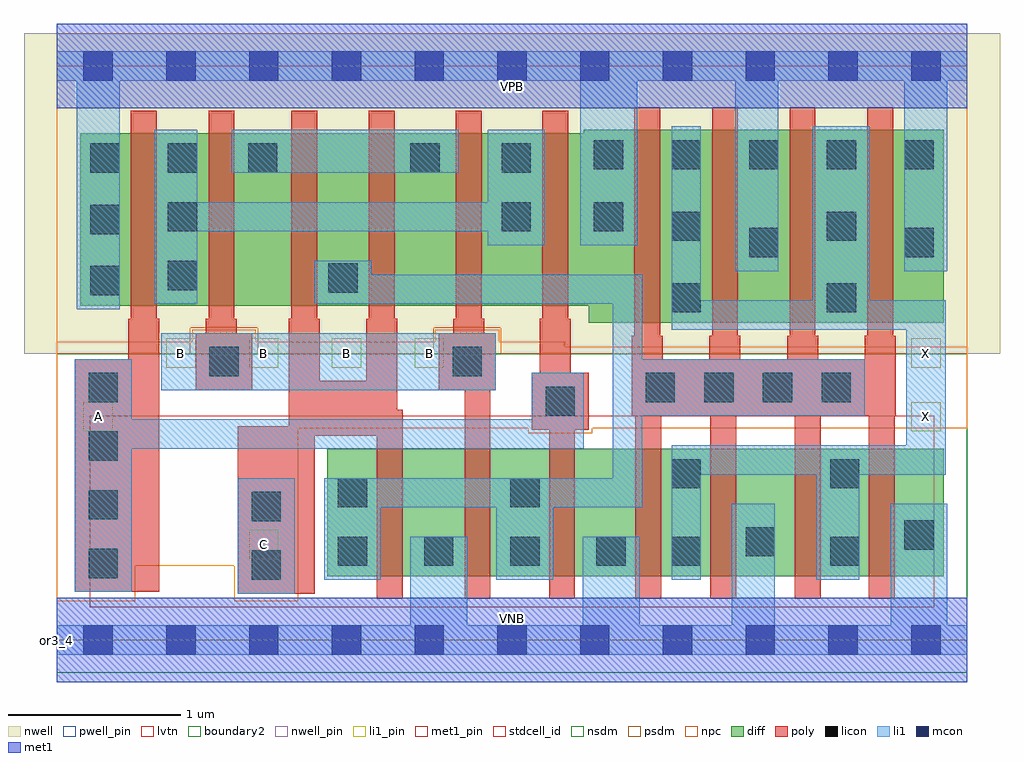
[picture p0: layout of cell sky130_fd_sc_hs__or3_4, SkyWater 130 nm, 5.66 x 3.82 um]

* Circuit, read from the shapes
.subckt sky130_fd_sc_hs__or3_4 A B C VGND VNB VPB VPWR X
XM1 VGND C n1 VNB sky130_fd_pr__nfet_01v8_lvt w=0.74 l=0.15
XM2 n1 B VGND VNB sky130_fd_pr__nfet_01v8_lvt w=0.74 l=0.15
XM3 VGND A n1 VNB sky130_fd_pr__nfet_01v8_lvt w=0.74 l=0.15
XM4 X n1 VGND VNB sky130_fd_pr__nfet_01v8_lvt w=0.74 l=0.15 m=4
XM5 n2 A VPWR VPB sky130_fd_pr__pfet_01v8 w=1 l=0.15 m=2
XM6 n3 B n2 VPB sky130_fd_pr__pfet_01v8 w=1 l=0.15 m=2
XM7 n1 C n3 VPB sky130_fd_pr__pfet_01v8 w=1 l=0.15 m=2
XM8 X n1 VPWR VPB sky130_fd_pr__pfet_01v8 w=1.12 l=0.15 m=4
.ends

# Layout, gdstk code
import gdstk
lib = gdstk.Library(unit=1e-6, precision=1e-09)
def R(c, l, rs):  # rectangles x0, y0, x1, y1
    for r in rs: c.add(gdstk.rectangle(r[:2], r[2:], *l))
def A(c, l, x, y, w, h, nx, ny, dx, dy):  # array of equal rectangles
    R(c, l, [(x+i*dx, y+j*dy, x+i*dx+w, y+j*dy+h) for i in range(nx) for j in range(ny)])
def P(c, l, *ps):  # polygons
    for p in ps: c.add(gdstk.Polygon(p, *l))
nwell_pin = (64, 16)
nwell = (64, 20)
diff = (65, 20)
poly = (66, 20)
licon = (66, 44)
li1_pin = (67, 16)
li1 = (67, 20)
mcon = (67, 44)
met1_pin = (68, 16)
met1 = (68, 20)
stdcell_id = (81, 4)
nsdm = (93, 44)
psdm = (94, 20)
npc = (95, 20)
pwell_pin = (122, 16)
lvtn = (125, 44)
boundary2 = (236, 0)

sky130_fd_sc_hs__or3_4 = lib.new_cell('sky130_fd_sc_hs__or3_4')
R(sky130_fd_sc_hs__or3_4, nwell_pin, [(0,3.085,5.28,3.33)])
R(sky130_fd_sc_hs__or3_4, nwell, [(-0.19,1.66,5.47,3.52)])
R(sky130_fd_sc_hs__or3_4, diff, [(1.57,0.37,5.145,1.11)])
P(sky130_fd_sc_hs__or3_4, diff, [(5.145,2.96),(3.055,2.96),(3.055,2.94),(0.135,2.94),(0.135,1.94),(3.085,1.94),(3.085,1.84),(5.145,1.84)])
P(sky130_fd_sc_hs__or3_4, poly, [(2.545,1.78),(2.48,1.78),(2.48,1.865),(2.465,1.865),(2.465,3.07),(2.315,3.07),(2.315,1.865),(2.3,1.865),(2.3,1.78),(2.215,1.78),(2.215,1.45),(2.365,1.45),(2.365,0.24),(2.515,0.24),(2.515,1.45),(2.545,1.45)],
  [(3.085,1.55),(2.98,1.55),(2.98,1.865),(2.965,1.865),(2.965,3.07),(2.815,3.07),(2.815,1.865),(2.8,1.865),(2.8,1.55),(2.755,1.55),(2.755,1.22),(2.855,1.22),(2.855,0.24),(3.005,0.24),(3.005,1.22),(3.085,1.22)],
  [(4.865,1.765),(4.85,1.765),(4.85,3.09),(4.7,3.09),(4.7,1.765),(4.685,1.765),(4.685,1.63),(4.415,1.63),(4.415,1.765),(4.4,1.765),(4.4,3.09),(4.25,3.09),(4.25,1.765),(4.235,1.765),(4.235,1.63),(3.965,1.63),(3.965,1.765),(3.95,1.765),(3.95,3.09),(3.8,3.09),(3.8,1.765),(3.785,1.765),(3.785,1.63),(3.515,1.63),(3.515,1.765),(3.5,1.765),(3.5,3.09),(3.35,3.09),(3.35,1.765),(3.335,1.765),(3.335,1.3),(3.355,1.3),(3.355,0.24),(3.505,0.24),(3.505,1.3),(3.79,1.3),(3.79,0.24),(3.94,0.24),(3.94,1.3),(4.28,1.3),(4.28,0.24),(4.43,0.24),(4.43,1.3),(4.71,1.3),(4.71,0.24),(4.86,0.24),(4.86,1.3),(4.865,1.3)],
  [(0.595,1.865),(0.58,1.865),(0.58,3.07),(0.43,3.07),(0.43,1.865),(0.415,1.865),(0.415,1.63),(0.105,1.63),(0.105,0.28),(0.595,0.28)],
  [(1.135,1.78),(1.045,1.78),(1.045,1.865),(1.03,1.865),(1.03,3.07),(0.88,3.07),(0.88,1.865),(0.865,1.865),(0.865,1.78),(0.805,1.78),(0.805,1.45),(1.135,1.45)],
  [(2.005,1.335),(1.975,1.335),(1.975,1.865),(1.96,1.865),(1.96,3.07),(1.81,3.07),(1.81,1.865),(1.795,1.865),(1.795,1.505),(1.525,1.505),(1.525,1.865),(1.51,1.865),(1.51,3.07),(1.36,3.07),(1.36,1.865),(1.345,1.865),(1.345,1.24),(1.05,1.24),(1.05,0.27),(1.495,0.27),(1.495,1.185),(1.855,1.185),(1.855,0.24),(2.005,0.24)])
A(sky130_fd_sc_hs__or3_4, licon, 0.185, 0.36, 0.17, 0.17, 1, 4, 0, 0.34)
A(sky130_fd_sc_hs__or3_4, licon, 1.63, 0.43, 0.17, 0.17, 4, 1, 0.5, 0)
A(sky130_fd_sc_hs__or3_4, licon, 3.415, 1.38, 0.17, 0.17, 4, 1, 0.34, 0)
A(sky130_fd_sc_hs__or3_4, licon, 0.195, 2, 0.17, 0.17, 1, 3, 0, 0.355)
A(sky130_fd_sc_hs__or3_4, licon, 0.645, 2.03, 0.17, 0.17, 1, 3, 0, 0.34)
A(sky130_fd_sc_hs__or3_4, licon, 3.115, 2.73, 0.17, 0.17, 5, 1, 0.45, 0)
R(sky130_fd_sc_hs__or3_4, licon, [(1.13,0.35,1.3,0.52), (3.565,0.43,3.735,0.6), (4.485,0.43,4.655,0.6), (3.995,0.485,4.165,0.655), (4.915,0.525,5.085,0.695), (1.13,0.69,1.3,0.86), (1.63,0.77,1.8,0.94), (2.63,0.77,2.8,0.94), (3.565,0.88,3.735,1.05), (4.485,0.88,4.655,1.05), (2.835,1.3,3.005,1.47), (0.885,1.53,1.055,1.7), (2.295,1.53,2.465,1.7), (3.565,1.9,3.735,2.07), (4.465,1.9,4.635,2.07), (1.575,2.015,1.745,2.185), (4.015,2.22,4.185,2.39), (4.915,2.22,5.085,2.39), (3.565,2.315,3.735,2.485), (4.465,2.315,4.635,2.485), (2.58,2.37,2.75,2.54), (3.115,2.37,3.285,2.54), (1.11,2.71,1.28,2.88), (2.05,2.71,2.22,2.88), (2.58,2.71,2.75,2.88)])
A(sky130_fd_sc_hs__or3_4, li1_pin, 0.635, 1.58, 0.17, 0.17, 4, 1, 0.48, 0)
R(sky130_fd_sc_hs__or3_4, li1_pin, [(1.115,0.47,1.285,0.64), (0.155,1.21,0.325,1.38), (4.955,1.21,5.125,1.38), (4.955,1.58,5.125,1.75)])
R(sky130_fd_sc_hs__or3_4, li1, [(1.05,0.27,1.38,0.94), (0.605,1.45,2.545,1.78), (1.015,2.71,2.33,2.96)])
P(sky130_fd_sc_hs__or3_4, li1, [(0,-0.085),(0,0.085),(2.05,0.085),(2.05,0.6),(2.38,0.6),(2.38,0.085),(3.05,0.085),(3.05,0.6),(3.38,0.6),(3.38,0.085),(3.915,0.085),(3.915,0.79),(4.165,0.79),(4.165,0.085),(4.835,0.085),(4.835,0.79),(5.165,0.79),(5.165,0.085),(5.28,0.085),(5.28,-0.085)],
  [(0,3.245),(0,3.415),(5.28,3.415),(5.28,3.245),(5.165,3.245),(5.165,2.14),(4.915,2.14),(4.915,3.245),(4.185,3.245),(4.185,2.14),(3.935,2.14),(3.935,3.245),(3.365,3.245),(3.365,2.29),(3.035,2.29),(3.035,3.245),(0.365,3.245),(0.365,1.92),(0.115,1.92),(0.115,3.245)],
  [(0.105,0.28),(0.105,1.63),(0.435,1.63),(0.435,1.28),(2.755,1.28),(2.755,1.55),(3.055,1.55),(3.055,1.11),(0.435,1.11),(0.435,0.28)],
  [(4.925,1.13),(4.925,1.8),(3.565,1.8),(3.565,2.98),(3.735,2.98),(3.735,1.97),(4.385,1.97),(4.385,2.98),(4.715,2.98),(4.715,1.97),(5.155,1.97),(5.155,0.96),(4.655,0.96),(4.655,0.35),(4.405,0.35),(4.405,0.96),(3.735,0.96),(3.735,0.35),(3.565,0.35),(3.565,1.13)],
  [(0.815,2.54),(2.5,2.54),(2.5,2.96),(2.83,2.96),(2.83,2.29),(2.5,2.29),(2.5,2.37),(0.815,2.37),(0.815,1.95),(0.565,1.95),(0.565,2.96),(0.815,2.96)],
  [(2.55,0.77),(1.88,0.77),(1.88,0.35),(1.55,0.35),(1.55,0.94),(3.225,0.94),(3.225,1.95),(1.495,1.95),(1.495,2.2),(1.825,2.2),(1.825,2.12),(3.395,2.12),(3.395,1.63),(4.685,1.63),(4.685,1.3),(3.395,1.3),(3.395,0.77),(2.88,0.77),(2.88,0.35),(2.55,0.35)])
A(sky130_fd_sc_hs__or3_4, mcon, 0.155, -0.085, 0.17, 0.17, 11, 2, 0.48, 3.33)
R(sky130_fd_sc_hs__or3_4, met1_pin, [(0,0,5.28,0.245), (0,3.085,5.28,3.33)])
R(sky130_fd_sc_hs__or3_4, met1, [(0,-0.245,5.28,0.245), (0,3.085,5.28,3.575)])
R(sky130_fd_sc_hs__or3_4, stdcell_id, [(0,0,5.28,3.33)])
R(sky130_fd_sc_hs__or3_4, nsdm, [(0,-0.19,5.28,1.66)])
P(sky130_fd_sc_hs__or3_4, psdm, [(5.28,3.52),(0,3.52),(0,1.66),(0.775,1.66),(0.775,1.81),(1.165,1.81),(1.165,1.66),(2.185,1.66),(2.185,1.81),(2.575,1.81),(2.575,1.66),(5.28,1.66)])
P(sky130_fd_sc_hs__or3_4, npc, [(5.28,1.7),(2.945,1.7),(2.945,1.73),(2.565,1.73),(2.565,1.8),(2.195,1.8),(2.195,1.73),(1.155,1.73),(1.155,1.8),(0.785,1.8),(0.785,1.73),(0,1.73),(0,0.225),(0.455,0.225),(0.455,0.43),(1.03,0.43),(1.03,0.225),(1.4,0.225),(1.4,1.23),(2.735,1.23),(2.735,1.2),(3.105,1.2),(3.105,1.23),(5.28,1.23)])
R(sky130_fd_sc_hs__or3_4, pwell_pin, [(0,0,5.28,0.245)])
R(sky130_fd_sc_hs__or3_4, lvtn, [(0.19,0.19,5.09,1.3)])
R(sky130_fd_sc_hs__or3_4, boundary2, [(0,0,5.28,3.33)])
sky130_fd_sc_hs__or3_4.add(gdstk.Label('or3_4', (0,0), layer=83, texttype=44))
sky130_fd_sc_hs__or3_4.add(gdstk.Label('VNB', (2.64,0.123), layer=64, texttype=59))
sky130_fd_sc_hs__or3_4.add(gdstk.Label('VPB', (2.64,3.208), layer=64, texttype=5))
sky130_fd_sc_hs__or3_4.add(gdstk.Label('VPWR', (2.64,3.208), layer=68, texttype=5))
sky130_fd_sc_hs__or3_4.add(gdstk.Label('VGND', (2.64,0.123), layer=68, texttype=5))
sky130_fd_sc_hs__or3_4.add(gdstk.Label('B', (0.72,1.665), layer=67, texttype=5))
sky130_fd_sc_hs__or3_4.add(gdstk.Label('B', (1.2,1.665), layer=67, texttype=5))
sky130_fd_sc_hs__or3_4.add(gdstk.Label('B', (1.68,1.665), layer=67, texttype=5))
sky130_fd_sc_hs__or3_4.add(gdstk.Label('B', (2.16,1.665), layer=67, texttype=5))
sky130_fd_sc_hs__or3_4.add(gdstk.Label('A', (0.24,1.295), layer=67, texttype=5))
sky130_fd_sc_hs__or3_4.add(gdstk.Label('C', (1.2,0.555), layer=67, texttype=5))
sky130_fd_sc_hs__or3_4.add(gdstk.Label('X', (5.04,1.295), layer=67, texttype=5))
sky130_fd_sc_hs__or3_4.add(gdstk.Label('X', (5.04,1.665), layer=67, texttype=5))

lib.write_gds('sky130_fd_sc_hs__or3_4.gds')
